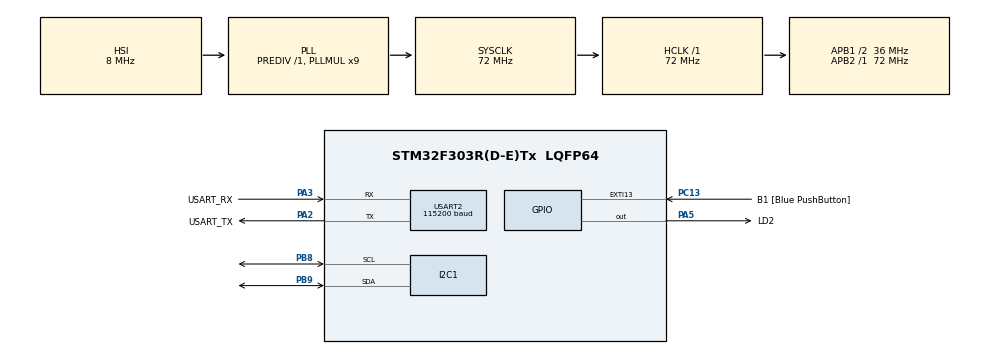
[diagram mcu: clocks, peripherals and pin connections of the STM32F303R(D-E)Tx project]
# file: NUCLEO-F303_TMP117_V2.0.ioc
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Dma.Request0=USART2_TX
Dma.USART2_TX.0.Direction=DMA_MEMORY_TO_PERIPH
Dma.USART2_TX.0.Instance=DMA1_Channel7
Dma.USART2_TX.0.MemDataAlignment=DMA_MDATAALIGN_BYTE
Dma.USART2_TX.0.MemInc=DMA_MINC_ENABLE
Dma.USART2_TX.0.Mode=DMA_NORMAL
Dma.USART2_TX.0.PeriphDataAlignment=DMA_PDATAALIGN_BYTE
Dma.USART2_TX.0.PeriphInc=DMA_PINC_DISABLE
Dma.USART2_TX.0.Priority=DMA_PRIORITY_LOW
I2C1.Timing=0x00201D2B
Mcu.Family=STM32F3
Mcu.Name=STM32F303R(D-E)Tx
Mcu.Package=LQFP64
NVIC.DMA1_Channel7_IRQn=true\:0\:0\:false\:false\:true\:false\:true\:true
NVIC.PriorityGroup=NVIC_PRIORITYGROUP_0
NVIC.TIM2_IRQn=true\:0\:0\:false\:false\:true\:true\:true\:true
NVIC.USART2_IRQn=true\:0\:0\:false\:false\:true\:true\:true\:true
PA13.GPIO_Label=TMS
PA13.Mode=Serial_Wire
PA13.Signal=SYS_JTMS-SWDIO
PA14.GPIO_Label=TCK
PA14.Mode=Serial_Wire
PA14.Signal=SYS_JTCK-SWCLK
PA2.GPIO_Label=USART_TX
PA2.GPIO_Mode=GPIO_MODE_AF_PP
PA2.GPIO_PuPd=GPIO_NOPULL
PA2.GPIO_Speed=GPIO_SPEED_FREQ_LOW
PA2.Mode=Asynchronous
PA2.Signal=USART2_TX
PA3.GPIO_Label=USART_RX
PA3.GPIO_Mode=GPIO_MODE_AF_PP
PA3.GPIO_PuPd=GPIO_NOPULL
PA3.GPIO_Speed=GPIO_SPEED_FREQ_LOW
PA3.Mode=Asynchronous
PA3.Signal=USART2_RX
PA5.GPIO_Label=LD2
PA5.Signal=GPIO_Output
PB3.GPIO_Label=SWO
PB3.Signal=SYS_JTDO-TRACESWO
PB8.Mode=I2C
PB8.Signal=I2C1_SCL
PB9.Mode=I2C
PB9.Signal=I2C1_SDA
PC13.GPIO_Label=B1 [Blue PushButton]
PC13.GPIO_ModeDefaultEXTI=GPIO_MODE_IT_FALLING
PC13.Signal=GPXTI13
PC14-OSC32_IN.Mode=LSE-External-Oscillator
PC14-OSC32_IN.Signal=RCC_OSC32_IN
PC15-OSC32_OUT.Mode=LSE-External-Oscillator
PC15-OSC32_OUT.Signal=RCC_OSC32_OUT
PF0-OSC_IN.Mode=HSE-External-Clock-Source
PF0-OSC_IN.Signal=RCC_OSC_IN
PF1-OSC_OUT.Signal=RCC_OSC_OUT
ProjectManager.HeapSize=0x200
ProjectManager.StackSize=0x400
ProjectManager.TargetToolchain=CMake
RCC.AHBFreq_Value=72000000
RCC.APB1CLKDivider=RCC_HCLK_DIV2
RCC.APB1Freq_Value=36000000
RCC.APB1TimFreq_Value=72000000
RCC.APB2Freq_Value=72000000
RCC.APB2TimFreq_Value=72000000
RCC.CortexFreq_Value=72000000
RCC.HCLKFreq_Value=72000000
RCC.HSE_VALUE=8000000
RCC.HSI_VALUE=8000000
RCC.PLLM=8
RCC.PLLMUL=RCC_PLL_MUL9
RCC.PLLN=336
RCC.PLLP=RCC_PLLP_DIV4
RCC.PLLQ=7
RCC.RCC_PLLsource_Clock_Source_FROM_HSE=RCC_HSE_PREDIV_DIV2
RCC.SYSCLKFreq_VALUE=72000000
RCC.SYSCLKSourceVirtual=RCC_SYSCLKSOURCE_PLLCLK
RCC.USBFreq_Value=72000000
TIM2.Period=100-1
TIM2.Prescaler=36000-1
USART2.BaudRate=115200
USART2.VirtualMode-Asynchronous=VM_ASYNC
VP_TIM2_VS_ClockSourceINT.Mode=Internal
board=NUCLEO-F303RE

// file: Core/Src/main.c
/* USER CODE BEGIN Header */
/**
  ******************************************************************************
  * @file           : main.c
  * @brief          : Main program body
  ******************************************************************************
  * @attention
  *
  * Copyright (c) 2026 STMicroelectronics.
  * All rights reserved.
  *
  * This software is licensed under terms that can be found in the LICENSE file
  * in the root directory of this software component.
  * If no LICENSE file comes with this software, it is provided AS-IS.
  *
  ******************************************************************************
  */
/* USER CODE END Header */
#include "main.h"

/* USER CODE BEGIN Includes */
#include <string.h>
#include <stdio.h>
#include "TMP117.h"
#include "stm32f3xx_hal_tim.h"
#include "stm32f3xx_hal_uart.h"
/* USER CODE END Includes */

/* USER CODE BEGIN PTD */
TMP117_HandleTypeDef tmp117;
/* USER CODE END PTD */

I2C_HandleTypeDef hi2c1;

TIM_HandleTypeDef htim2;

UART_HandleTypeDef huart2;
DMA_HandleTypeDef hdma_usart2_tx;

/* USER CODE BEGIN PV */
static float lowLimitTemp = 30.0f;
static float highLimitTemp = 50.0f;
static float temperatureC = 0.0f;

static volatile uint32_t readTicks = 0;
static volatile uint32_t blinkTicks = 0;
/* USER CODE END PV */

void SystemClock_Config(void);
static void MX_GPIO_Init(void);
static void MX_DMA_Init(void);
static void MX_USART2_UART_Init(void);
static void MX_I2C1_Init(void);
static void MX_TIM2_Init(void);
/* USER CODE BEGIN PFP */
void TMP117_Initialization(void);
void Task_Read_TMP117(void);
void Task_Led_Blink(void);
/* USER CODE END PFP */

int main(void)
{

  /* MCU Configuration--------------------------------------------------------*/

  /* Reset of all peripherals, Initializes the Flash interface and the Systick. */
  HAL_Init();

  /* Configure the system clock */
  SystemClock_Config();

  /* Initialize all configured peripherals */
  MX_GPIO_Init();
  MX_DMA_Init();
  MX_USART2_UART_Init();
  MX_I2C1_Init();
  MX_TIM2_Init();
  /* USER CODE BEGIN 2 */
  TMP117_Initialization();
  HAL_TIM_Base_Start_IT(&htim2);
  /* USER CODE END 2 */

  /* Infinite loop */
  /* USER CODE BEGIN WHILE */
  while (1)
  {
    Task_Read_TMP117();
    Task_Led_Blink();
    /* USER CODE END WHILE */

  }
}

void SystemClock_Config(void)
{
  RCC_OscInitTypeDef RCC_OscInitStruct = {0};
  RCC_ClkInitTypeDef RCC_ClkInitStruct = {0};
  RCC_PeriphCLKInitTypeDef PeriphClkInit = {0};

  /** Initializes the RCC Oscillators according to the specified parameters
  * in the RCC_OscInitTypeDef structure.
  */
  RCC_OscInitStruct.OscillatorType = RCC_OSCILLATORTYPE_HSI;
  RCC_OscInitStruct.HSIState = RCC_HSI_ON;
  RCC_OscInitStruct.HSICalibrationValue = RCC_HSICALIBRATION_DEFAULT;
  RCC_OscInitStruct.PLL.PLLState = RCC_PLL_ON;
  RCC_OscInitStruct.PLL.PLLSource = RCC_PLLSOURCE_HSI;
  RCC_OscInitStruct.PLL.PLLMUL = RCC_PLL_MUL9;
  RCC_OscInitStruct.PLL.PREDIV = RCC_PREDIV_DIV1;
  if (HAL_RCC_OscConfig(&RCC_OscInitStruct) != HAL_OK)
  {
    Error_Handler();
  }

  /** Initializes the CPU, AHB and APB buses clocks
  */
  RCC_ClkInitStruct.ClockType = RCC_CLOCKTYPE_HCLK|RCC_CLOCKTYPE_SYSCLK
                              |RCC_CLOCKTYPE_PCLK1|RCC_CLOCKTYPE_PCLK2;
  RCC_ClkInitStruct.SYSCLKSource = RCC_SYSCLKSOURCE_PLLCLK;
  RCC_ClkInitStruct.AHBCLKDivider = RCC_SYSCLK_DIV1;
  RCC_ClkInitStruct.APB1CLKDivider = RCC_HCLK_DIV2;
  RCC_ClkInitStruct.APB2CLKDivider = RCC_HCLK_DIV1;

  if (HAL_RCC_ClockConfig(&RCC_ClkInitStruct, FLASH_LATENCY_2) != HAL_OK)
  {
    Error_Handler();
  }
  PeriphClkInit.PeriphClockSelection = RCC_PERIPHCLK_USART2|RCC_PERIPHCLK_I2C1
                              |RCC_PERIPHCLK_TIM2;
  PeriphClkInit.Usart2ClockSelection = RCC_USART2CLKSOURCE_PCLK1;
  PeriphClkInit.I2c1ClockSelection = RCC_I2C1CLKSOURCE_HSI;
  PeriphClkInit.Tim2ClockSelection = RCC_TIM2CLK_HCLK;
  if (HAL_RCCEx_PeriphCLKConfig(&PeriphClkInit) != HAL_OK)
  {
    Error_Handler();
  }
}

static void MX_I2C1_Init(void)
{

  hi2c1.Instance = I2C1;
  hi2c1.Init.Timing = 0x00201D2B;
  hi2c1.Init.OwnAddress1 = 0;
  hi2c1.Init.AddressingMode = I2C_ADDRESSINGMODE_7BIT;
  hi2c1.Init.DualAddressMode = I2C_DUALADDRESS_DISABLE;
  hi2c1.Init.OwnAddress2 = 0;
  hi2c1.Init.OwnAddress2Masks = I2C_OA2_NOMASK;
  hi2c1.Init.GeneralCallMode = I2C_GENERALCALL_DISABLE;
  hi2c1.Init.NoStretchMode = I2C_NOSTRETCH_DISABLE;
  if (HAL_I2C_Init(&hi2c1) != HAL_OK)
  {
    Error_Handler();
  }

  /** Configure Analogue filter
  */
  if (HAL_I2CEx_ConfigAnalogFilter(&hi2c1, I2C_ANALOGFILTER_ENABLE) != HAL_OK)
  {
    Error_Handler();
  }

  /** Configure Digital filter
  */
  if (HAL_I2CEx_ConfigDigitalFilter(&hi2c1, 0) != HAL_OK)
  {
    Error_Handler();
  }

}

static void MX_TIM2_Init(void)
{

  TIM_ClockConfigTypeDef sClockSourceConfig = {0};
  TIM_MasterConfigTypeDef sMasterConfig = {0};

  htim2.Instance = TIM2;
  htim2.Init.Prescaler = 36000-1;
  htim2.Init.CounterMode = TIM_COUNTERMODE_UP;
  htim2.Init.Period = 100-1;
  htim2.Init.ClockDivision = TIM_CLOCKDIVISION_DIV1;
  htim2.Init.AutoReloadPreload = TIM_AUTORELOAD_PRELOAD_DISABLE;
  if (HAL_TIM_Base_Init(&htim2) != HAL_OK)
  {
    Error_Handler();
  }
  sClockSourceConfig.ClockSource = TIM_CLOCKSOURCE_INTERNAL;
  if (HAL_TIM_ConfigClockSource(&htim2, &sClockSourceConfig) != HAL_OK)
  {
    Error_Handler();
  }
  sMasterConfig.MasterOutputTrigger = TIM_TRGO_RESET;
  sMasterConfig.MasterSlaveMode = TIM_MASTERSLAVEMODE_DISABLE;
  if (HAL_TIMEx_MasterConfigSynchronization(&htim2, &sMasterConfig) != HAL_OK)
  {
    Error_Handler();
  }

}

static void MX_USART2_UART_Init(void)
{

  huart2.Instance = USART2;
  huart2.Init.BaudRate = 115200;
  huart2.Init.WordLength = UART_WORDLENGTH_8B;
  huart2.Init.StopBits = UART_STOPBITS_1;
  huart2.Init.Parity = UART_PARITY_NONE;
  huart2.Init.Mode = UART_MODE_TX_RX;
  huart2.Init.HwFlowCtl = UART_HWCONTROL_NONE;
  huart2.Init.OverSampling = UART_OVERSAMPLING_16;
  huart2.Init.OneBitSampling = UART_ONE_BIT_SAMPLE_DISABLE;
  huart2.AdvancedInit.AdvFeatureInit = UART_ADVFEATURE_NO_INIT;
  if (HAL_UART_Init(&huart2) != HAL_OK)
  {
    Error_Handler();
  }

}

static void MX_DMA_Init(void)
{

  /* DMA controller clock enable */
  __HAL_RCC_DMA1_CLK_ENABLE();

  /* DMA interrupt init */
  /* DMA1_Channel7_IRQn interrupt configuration */
  HAL_NVIC_SetPriority(DMA1_Channel7_IRQn, 0, 0);
  HAL_NVIC_EnableIRQ(DMA1_Channel7_IRQn);

}

static void MX_GPIO_Init(void)
{
  GPIO_InitTypeDef GPIO_InitStruct = {0};

  /* GPIO Ports Clock Enable */
  __HAL_RCC_GPIOC_CLK_ENABLE();
  __HAL_RCC_GPIOF_CLK_ENABLE();
  __HAL_RCC_GPIOA_CLK_ENABLE();
  __HAL_RCC_GPIOB_CLK_ENABLE();

  /*Configure GPIO pin Output Level */
  HAL_GPIO_WritePin(LD2_GPIO_Port, LD2_Pin, GPIO_PIN_RESET);

  /*Configure GPIO pin : B1_Pin */
  GPIO_InitStruct.Pin = B1_Pin;
  GPIO_InitStruct.Mode = GPIO_MODE_IT_FALLING;
  GPIO_InitStruct.Pull = GPIO_NOPULL;
  HAL_GPIO_Init(B1_GPIO_Port, &GPIO_InitStruct);

  /*Configure GPIO pin : LD2_Pin */
  GPIO_InitStruct.Pin = LD2_Pin;
  GPIO_InitStruct.Mode = GPIO_MODE_OUTPUT_PP;
  GPIO_InitStruct.Pull = GPIO_NOPULL;
  GPIO_InitStruct.Speed = GPIO_SPEED_FREQ_LOW;
  HAL_GPIO_Init(LD2_GPIO_Port, &GPIO_InitStruct);

}

/* USER CODE BEGIN 4 */
void HAL_TIM_PeriodElapsedCallback(TIM_HandleTypeDef *htim)
{
    if (htim->Instance == TIM2)
    {
        readTicks++;
        blinkTicks++;
    }
}

void TMP117_Initialization(void)
{
    const char *msg;
    static char err_buffer[120];

    if (TMP117_Init(&tmp117, &hi2c1, TMP117_ADDRESS) == HAL_OK)
    {
        msg = "Inicialización correcta\r\n";
    }
    else
    {
        msg = "Inicialización fallida\r\n";
    }
    HAL_UART_Transmit_DMA(&huart2, (uint8_t *)msg, strlen(msg));

    while (huart2.gState != HAL_UART_STATE_READY); // Espera obligatoria de DMA
    if (TMP117_SetLowLimit_C(&tmp117, lowLimitTemp) == HAL_OK)
    {
        msg = "Correct initialization of the lower temperature limit\r\n";
    }
    else
    {
        msg = "Lower temperature limit initialization failed\r\n";
    }
    HAL_UART_Transmit_DMA(&huart2, (uint8_t *)msg, strlen(msg));

    while (huart2.gState != HAL_UART_STATE_READY);
    if (TMP117_SetHighLimit_C(&tmp117, highLimitTemp) == HAL_OK)
    { msg = "Correct initialization of the upper temperature limit\r\n";
    }
    else
    {
        msg = "Upper temperature limit initialization failed\r\n";
    }
    HAL_UART_Transmit_DMA(&huart2, (uint8_t *)msg, strlen(msg));

    while (huart2.gState != HAL_UART_STATE_READY);
    if (TMP117_SetConvTime(&tmp117, TMP117_CONV_4_S) == HAL_OK)
    {
        msg = "Tiempo de conversion configurado a 4s correctamente\r\n";
        HAL_UART_Transmit_DMA(&huart2, (uint8_t *)msg, strlen(msg));
    }
    else
    {
        // Si falla, formateamos los datos dinámicos usando snprintf en el buffer estático
        snprintf(err_buffer, sizeof(err_buffer), "ERROR: requested time (%.1f ms) is less than active time (%.1f ms)\r\n", tmp117._requestedTime, tmp117._activeTime);

        HAL_UART_Transmit_DMA(&huart2, (uint8_t *)err_buffer, strlen(err_buffer));
    }
}

void Task_Read_TMP117(void)
{
    static char tx_buffer[60];

    if (readTicks >= 20)
    {
        readTicks = 0;

        if (TMP117_IsDataReady(&tmp117))
        {
            temperatureC = TMP117_GetTemperature_C(&tmp117);

            while (huart2.gState != HAL_UART_STATE_READY);
            snprintf(tx_buffer, sizeof(tx_buffer), "Temperatura: %.4f C\r\n", temperatureC);
            HAL_UART_Transmit_DMA(&huart2, (uint8_t *)tx_buffer, strlen(tx_buffer));
        }
    }
}

void Task_Led_Blink(void)
{
    uint32_t blinkLimit = 10;

    if (temperatureC <= 25.0f)
    {
        blinkLimit = 10; // 1 Hz (Periodo 1000ms -> Toggle 500ms -> 10 ticks)
    }
    else if (temperatureC > 25.0f && temperatureC < 35.0f)
    {
        blinkLimit = 2;  // 5 Hz (Periodo 200ms -> Toggle 100ms -> 2 ticks)
    }
    else if (temperatureC >= 35.0f)
    {
        blinkLimit = 1;  // 20 Hz (Periodo 50ms -> Toggle 25ms -> 1 tick aproximado)
    }

    if (blinkTicks >= blinkLimit)
    {
        blinkTicks = 0;
        HAL_GPIO_TogglePin(LD2_GPIO_Port, LD2_Pin);
    }
}
/* USER CODE END 4 */

void Error_Handler(void)
{
  __disable_irq();
  while (1)
  {
  }
}
